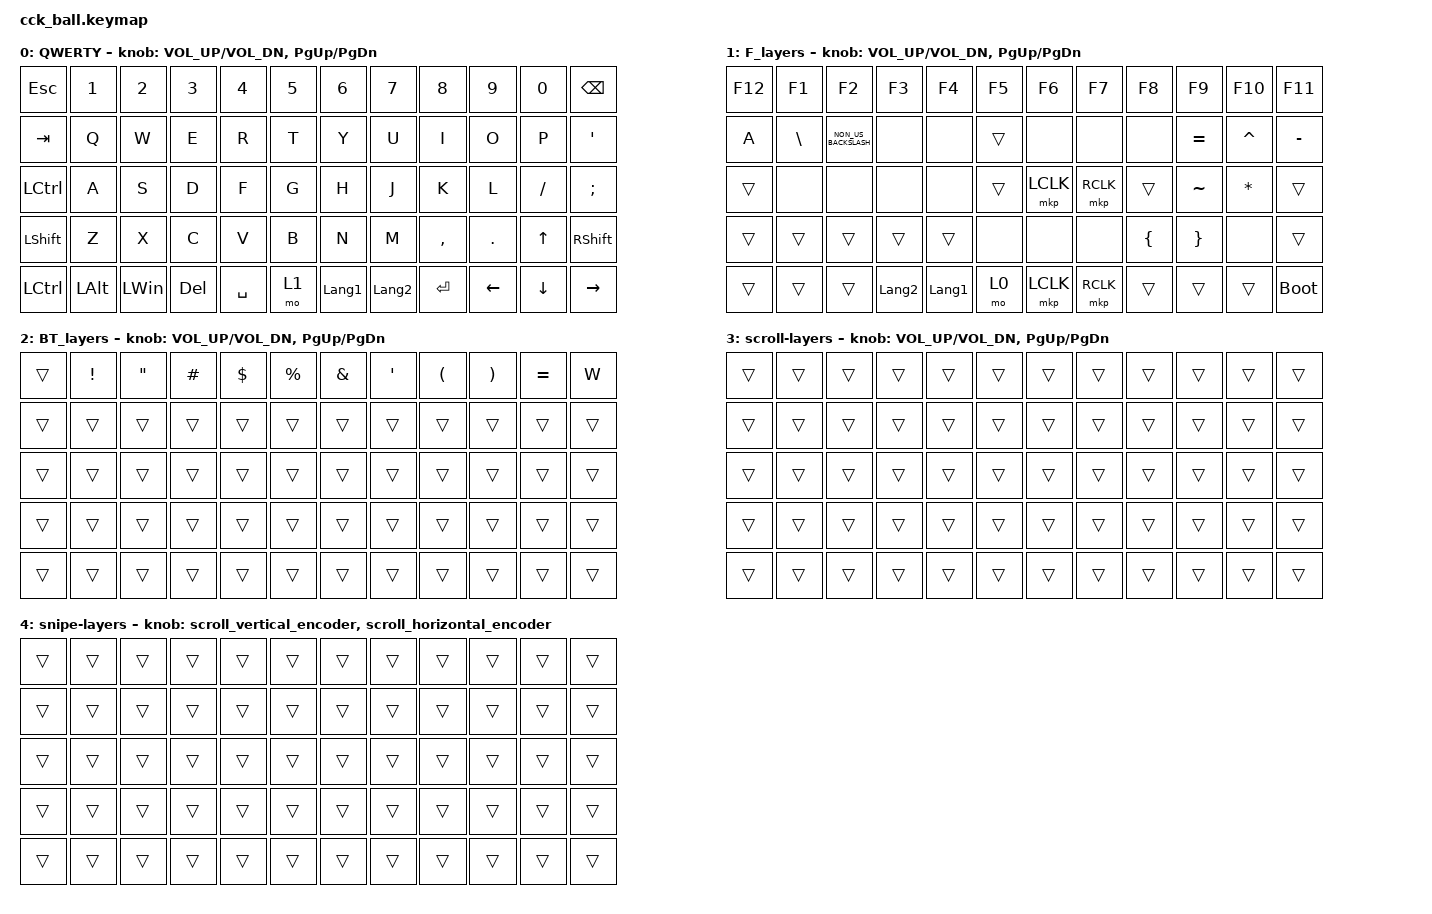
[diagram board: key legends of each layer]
#define ZMK_POINTING_DEFAULT_MOVE_VAL 1000 // 600
#define ZMK_POINTING_DEFAULT_SCRL_VAL 12   // 10

#include <input/processors.dtsi>
#include <zephyr/dt-bindings/input/input-event-codes.h>
#include <behaviors.dtsi>
#include <dt-bindings/zmk/keys.h>
#include <dt-bindings/zmk/pointing.h>

&mmv_input_listener { input-processors = <&zip_xy_scaler 2 1>; };

&msc_input_listener { input-processors = <&zip_scroll_scaler 2 1>; };

&msc {
    acceleration-exponent = <0>;      // 0
    time-to-max-speed-ms = <300>;       // 300
    delay-ms = <0>;                   // 0
};

&mmv {
    time-to-max-speed-ms = <500>;
    acceleration-exponent = <1>;
    trigger-period-ms = <16>;
};

&soft_off { hold-time-ms = <2000>; };

/ {
    // 上下滚动编码器行为

    scroll_vertical_encoder: scroll_vertical_encoder {
        compatible = "zmk,behavior-sensor-rotate";
        #sensor-binding-cells = <0>;
        bindings = <&msc SCRL_DOWN>, <&msc SCRL_UP>;

        tap-ms = <100>;
    };

    // 左右滚动编码器行为

    scroll_horizontal_encoder: scroll_horizontal_encoder {
        compatible = "zmk,behavior-sensor-rotate";
        #sensor-binding-cells = <0>;
        bindings = <&msc SCRL_LEFT>, <&msc SCRL_RIGHT>;

        tap-ms = <100>;
    };

    behaviors {
    };

    keymap {
        compatible = "zmk,keymap";

        QWERTY {
            bindings = <
&kp ESC           &kp N1        &kp N2        &kp N3      &kp N4     &kp N5  &kp N6          &kp N7          &kp N8     &kp N9          &kp N0          &kp BACKSPACE
&kp TAB           &kp Q         &kp W         &kp E       &kp R      &kp T   &kp Y           &kp U           &kp I      &kp O           &kp P           &kp SQT
&kp LCTRL         &kp A         &kp S         &kp D       &kp F      &kp G   &kp H           &kp J           &kp K      &kp L           &kp SLASH       &kp SEMICOLON
&kp LEFT_SHIFT    &kp Z         &kp X         &kp C       &kp V      &kp B   &kp N           &kp M           &kp COMMA  &kp DOT         &kp UP_ARROW    &kp RIGHT_SHIFT
&kp LEFT_CONTROL  &kp LEFT_ALT  &kp LEFT_WIN  &kp DELETE  &kp SPACE  &mo 1   &kp LANGUAGE_1  &kp LANGUAGE_2  &kp ENTER  &kp LEFT_ARROW  &kp DOWN_ARROW  &kp RIGHT_ARROW
            >;

            sensor-bindings = <&inc_dec_kp C_VOL_UP C_VOL_DN &inc_dec_kp PG_UP PG_DN>;
        };

        F_layers {
            bindings = <
&kp F12  &kp F1  &kp F2  &kp F3          &kp F4          &kp F5  &kp F6     &kp F7     &kp F8          &kp F9           &kp F10       &kp F11
&kp A    &kp BACKSLASH   &kp NON_US_BACKSLASH   &none           &none           &trans  &none      &none      &none           &kp EQUAL        &kp CARET     &kp MINUS
&trans   &none   &none   &none           &none           &trans  &mkp LCLK  &mkp RCLK  &trans          &kp TILDE        &kp ASTERISK  &trans
&trans   &trans  &trans  &trans          &trans          &none   &none      &none      &kp LEFT_BRACE  &kp RIGHT_BRACE  &none         &trans
&trans   &trans  &trans  &kp LANGUAGE_2  &kp LANGUAGE_1  &mo 0   &mkp LCLK  &mkp RCLK  &trans          &trans           &trans        &bootloader
            >;

            sensor-bindings = <&inc_dec_kp C_VOL_UP C_VOL_DN &inc_dec_kp PG_UP PG_DN>;
        };

        BT_layers {
            bindings = <
&trans  &kp EXCLAMATION  &kp DOUBLE_QUOTES  &kp POUND   &kp DOLLAR  &kp PERCENT  &kp AMPERSAND  &kp SQT  &kp LEFT_PARENTHESIS  &kp RIGHT_PARENTHESIS  &kp EQUAL  &kp W
&trans  &trans           &trans             &trans      &trans      &trans       &trans         &trans   &trans                &trans                 &trans     &trans
&trans  &trans           &trans             &trans      &trans      &trans       &trans         &trans   &trans                &trans                 &trans     &trans
&trans  &trans           &trans             &trans      &trans      &trans       &trans         &trans   &trans                &trans                 &trans     &trans
&trans  &trans           &trans             &trans      &trans      &trans       &trans         &trans   &trans                &trans                 &trans     &trans
            >;

            sensor-bindings = <&inc_dec_kp C_VOL_UP C_VOL_DN &inc_dec_kp PG_UP PG_DN>;
        };

        scroll-layers {
            bindings = <
&trans  &trans  &trans  &trans  &trans  &trans  &trans  &trans  &trans  &trans  &trans  &trans
&trans  &trans  &trans  &trans  &trans  &trans  &trans  &trans  &trans  &trans  &trans  &trans
&trans  &trans  &trans  &trans  &trans  &trans  &trans  &trans  &trans  &trans  &trans  &trans
&trans  &trans  &trans  &trans  &trans  &trans  &trans  &trans  &trans  &trans  &trans  &trans
&trans  &trans  &trans  &trans  &trans  &trans  &trans  &trans  &trans  &trans  &trans  &trans
            >;

            sensor-bindings = <&inc_dec_kp C_VOL_UP C_VOL_DN &inc_dec_kp PG_UP PG_DN>;
        };

        snipe-layers {
            bindings = <
&trans  &trans  &trans  &trans  &trans  &trans  &trans  &trans  &trans  &trans  &trans  &trans
&trans  &trans  &trans  &trans  &trans  &trans  &trans  &trans  &trans  &trans  &trans  &trans
&trans  &trans  &trans  &trans  &trans  &trans  &trans  &trans  &trans  &trans  &trans  &trans
&trans  &trans  &trans  &trans  &trans  &trans  &trans  &trans  &trans  &trans  &trans  &trans
&trans  &trans  &trans  &trans  &trans  &trans  &trans  &trans  &trans  &trans  &trans  &trans
            >;

            sensor-bindings =
                <&scroll_vertical_encoder>,
                // 编码器1：上下滚动,,,,,
                <&scroll_horizontal_encoder>;

            // 编码器2：左右滚动
        };

    };
};
